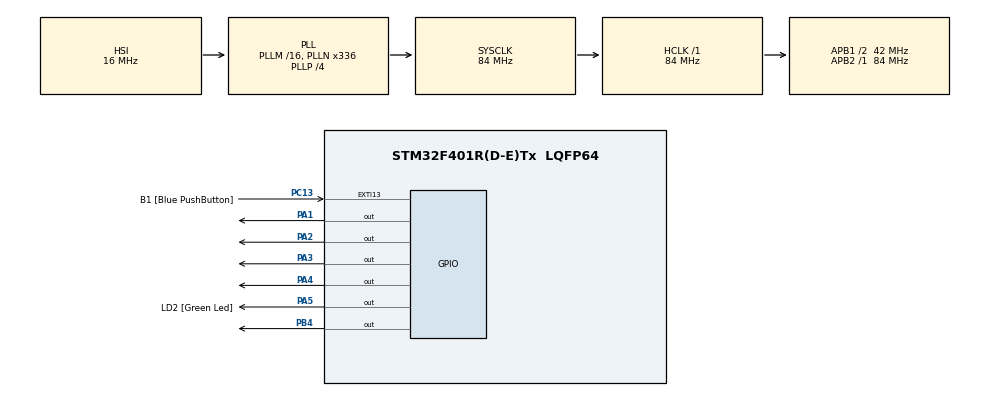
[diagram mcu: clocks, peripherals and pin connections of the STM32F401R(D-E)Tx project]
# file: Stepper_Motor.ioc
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Mcu.Family=STM32F4
Mcu.Name=STM32F401R(D-E)Tx
Mcu.Package=LQFP64
NVIC.PriorityGroup=NVIC_PRIORITYGROUP_4
PA1.Signal=GPIO_Output
PA13.GPIO_Label=TMS
PA13.Mode=Trace_Asynchronous_SW
PA13.Signal=SYS_JTMS-SWDIO
PA14.GPIO_Label=TCK
PA14.Mode=Trace_Asynchronous_SW
PA14.Signal=SYS_JTCK-SWCLK
PA2.Signal=GPIO_Output
PA3.Signal=GPIO_Output
PA4.Signal=GPIO_Output
PA5.GPIO_Label=LD2 [Green Led]
PA5.GPIO_Mode=GPIO_MODE_OUTPUT_PP
PA5.GPIO_PuPd=GPIO_NOPULL
PA5.GPIO_Speed=GPIO_SPEED_FREQ_LOW
PA5.Signal=GPIO_Output
PB3.GPIO_Label=SWO
PB3.Mode=Trace_Asynchronous_SW
PB3.Signal=SYS_JTDO-SWO
PB4.Signal=GPIO_Output
PC13-ANTI_TAMP.GPIO_Label=B1 [Blue PushButton]
PC13-ANTI_TAMP.GPIO_ModeDefaultEXTI=GPIO_MODE_IT_FALLING
PC13-ANTI_TAMP.GPIO_PuPd=GPIO_NOPULL
PC13-ANTI_TAMP.Signal=GPXTI13
PC14-OSC32_IN.Mode=LSE-External-Oscillator
PC14-OSC32_IN.Signal=RCC_OSC32_IN
PC15-OSC32_OUT.Mode=LSE-External-Oscillator
PC15-OSC32_OUT.Signal=RCC_OSC32_OUT
PH0\ -\ OSC_IN.Mode=HSE-External-Clock-Source
PH0\ -\ OSC_IN.Signal=RCC_OSC_IN
PH1\ -\ OSC_OUT.Mode=HSE-External-Clock-Source
PH1\ -\ OSC_OUT.Signal=RCC_OSC_OUT
ProjectManager.HeapSize=0x200
ProjectManager.StackSize=0x400
ProjectManager.TargetToolchain=STM32CubeIDE
RCC.48MHZClocksFreq_Value=48000000
RCC.AHBFreq_Value=84000000
RCC.APB1CLKDivider=RCC_HCLK_DIV2
RCC.APB1Freq_Value=42000000
RCC.APB1TimFreq_Value=84000000
RCC.APB2Freq_Value=84000000
RCC.APB2TimFreq_Value=84000000
RCC.CortexFreq_Value=84000000
RCC.HCLKFreq_Value=84000000
RCC.HSE_VALUE=8000000
RCC.HSI_VALUE=16000000
RCC.PLLN=336
RCC.PLLP=RCC_PLLP_DIV4
RCC.PLLQ=7
RCC.SYSCLKFreq_VALUE=84000000
RCC.SYSCLKSource=RCC_SYSCLKSOURCE_PLLCLK
RCC.VCOOutputFreq_Value=336000000
TIM1.Period=0xffff-1
TIM1.Prescaler=84-1
VP_TIM1_VS_ClockSourceINT.Mode=Internal
board=NUCLEO-F401RE

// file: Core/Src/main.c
/* USER CODE BEGIN Header */
/**
  ******************************************************************************
  * @file           : main.c
  * @brief          : Main program body
  ******************************************************************************
  * @attention
  *
  * Copyright (c) 2025 STMicroelectronics.
  * All rights reserved.
  *
  * This software is licensed under terms that can be found in the LICENSE file
  * in the root directory of this software component.
  * If no LICENSE file comes with this software, it is provided AS-IS.
  *
  ******************************************************************************
  */
/* USER CODE END Header */
#include "main.h"

TIM_HandleTypeDef htim1;

void SystemClock_Config(void);
static void MX_GPIO_Init(void);
static void MX_TIM1_Init(void);

/* USER CODE BEGIN 0 */
int stepDelay = 1000; // 1000us more delay means less speed

void microDelay (uint16_t delay)
{
  __HAL_TIM_SET_COUNTER(&htim1, 0);
  while (__HAL_TIM_GET_COUNTER(&htim1) < delay);
}
/* USER CODE END 0 */

int main(void)
{

  /* MCU Configuration--------------------------------------------------------*/

  /* Reset of all peripherals, Initializes the Flash interface and the Systick. */
  HAL_Init();

  /* Configure the system clock */
  SystemClock_Config();

  /* Initialize all configured peripherals */
  MX_GPIO_Init();
  MX_TIM1_Init();
  /* USER CODE BEGIN 2 */
  HAL_TIM_Base_Start(&htim1);
  /* USER CODE END 2 */

  /* Infinite loop */
  while (1)
  {

    /* USER CODE BEGIN 3 */
	  int x;
	  HAL_GPIO_WritePin(GPIOA, GPIO_PIN_1, 1);
	  for(x=0; x<200; x=x+1)
	  {
		HAL_GPIO_WritePin(GPIOB, GPIO_PIN_4, 1);
		microDelay(stepDelay);
		HAL_GPIO_WritePin(GPIOB, GPIO_PIN_4, 0);
		microDelay(stepDelay);
	  }
	  HAL_Delay(1000);
	  HAL_GPIO_WritePin(GPIOA, GPIO_PIN_1, 0);
	  for(x=0; x<200; x=x+1)
	  {
		HAL_GPIO_WritePin(GPIOB, GPIO_PIN_4, 1);
		microDelay(stepDelay);
		HAL_GPIO_WritePin(GPIOB, GPIO_PIN_4, 0);
		microDelay(stepDelay);
	  }
	  HAL_Delay(1000);
  }
  /* USER CODE END 3 */
}

void SystemClock_Config(void)
{
  RCC_OscInitTypeDef RCC_OscInitStruct = {0};
  RCC_ClkInitTypeDef RCC_ClkInitStruct = {0};

  /** Configure the main internal regulator output voltage
  */
  __HAL_RCC_PWR_CLK_ENABLE();
  __HAL_PWR_VOLTAGESCALING_CONFIG(PWR_REGULATOR_VOLTAGE_SCALE2);

  /** Initializes the RCC Oscillators according to the specified parameters
  * in the RCC_OscInitTypeDef structure.
  */
  RCC_OscInitStruct.OscillatorType = RCC_OSCILLATORTYPE_HSI;
  RCC_OscInitStruct.HSIState = RCC_HSI_ON;
  RCC_OscInitStruct.HSICalibrationValue = RCC_HSICALIBRATION_DEFAULT;
  RCC_OscInitStruct.PLL.PLLState = RCC_PLL_ON;
  RCC_OscInitStruct.PLL.PLLSource = RCC_PLLSOURCE_HSI;
  RCC_OscInitStruct.PLL.PLLM = 16;
  RCC_OscInitStruct.PLL.PLLN = 336;
  RCC_OscInitStruct.PLL.PLLP = RCC_PLLP_DIV4;
  RCC_OscInitStruct.PLL.PLLQ = 7;
  if (HAL_RCC_OscConfig(&RCC_OscInitStruct) != HAL_OK)
  {
    Error_Handler();
  }

  /** Initializes the CPU, AHB and APB buses clocks
  */
  RCC_ClkInitStruct.ClockType = RCC_CLOCKTYPE_HCLK|RCC_CLOCKTYPE_SYSCLK
                              |RCC_CLOCKTYPE_PCLK1|RCC_CLOCKTYPE_PCLK2;
  RCC_ClkInitStruct.SYSCLKSource = RCC_SYSCLKSOURCE_PLLCLK;
  RCC_ClkInitStruct.AHBCLKDivider = RCC_SYSCLK_DIV1;
  RCC_ClkInitStruct.APB1CLKDivider = RCC_HCLK_DIV2;
  RCC_ClkInitStruct.APB2CLKDivider = RCC_HCLK_DIV1;

  if (HAL_RCC_ClockConfig(&RCC_ClkInitStruct, FLASH_LATENCY_2) != HAL_OK)
  {
    Error_Handler();
  }
}

static void MX_TIM1_Init(void)
{

  TIM_ClockConfigTypeDef sClockSourceConfig = {0};
  TIM_MasterConfigTypeDef sMasterConfig = {0};

  htim1.Instance = TIM1;
  htim1.Init.Prescaler = 84-1;
  htim1.Init.CounterMode = TIM_COUNTERMODE_UP;
  htim1.Init.Period = 0xffff-1;
  htim1.Init.ClockDivision = TIM_CLOCKDIVISION_DIV1;
  htim1.Init.RepetitionCounter = 0;
  htim1.Init.AutoReloadPreload = TIM_AUTORELOAD_PRELOAD_DISABLE;
  if (HAL_TIM_Base_Init(&htim1) != HAL_OK)
  {
    Error_Handler();
  }
  sClockSourceConfig.ClockSource = TIM_CLOCKSOURCE_INTERNAL;
  if (HAL_TIM_ConfigClockSource(&htim1, &sClockSourceConfig) != HAL_OK)
  {
    Error_Handler();
  }
  sMasterConfig.MasterOutputTrigger = TIM_TRGO_RESET;
  sMasterConfig.MasterSlaveMode = TIM_MASTERSLAVEMODE_DISABLE;
  if (HAL_TIMEx_MasterConfigSynchronization(&htim1, &sMasterConfig) != HAL_OK)
  {
    Error_Handler();
  }

}

static void MX_GPIO_Init(void)
{
  GPIO_InitTypeDef GPIO_InitStruct = {0};

  /* GPIO Ports Clock Enable */
  __HAL_RCC_GPIOC_CLK_ENABLE();
  __HAL_RCC_GPIOH_CLK_ENABLE();
  __HAL_RCC_GPIOA_CLK_ENABLE();
  __HAL_RCC_GPIOB_CLK_ENABLE();

  /*Configure GPIO pin Output Level */
  HAL_GPIO_WritePin(GPIOA, GPIO_PIN_1|GPIO_PIN_2|GPIO_PIN_3|GPIO_PIN_4
                          |LD2_Pin, GPIO_PIN_RESET);

  /*Configure GPIO pin Output Level */
  HAL_GPIO_WritePin(GPIOB, GPIO_PIN_4, GPIO_PIN_RESET);

  /*Configure GPIO pin : B1_Pin */
  GPIO_InitStruct.Pin = B1_Pin;
  GPIO_InitStruct.Mode = GPIO_MODE_IT_FALLING;
  GPIO_InitStruct.Pull = GPIO_NOPULL;
  HAL_GPIO_Init(B1_GPIO_Port, &GPIO_InitStruct);

  /*Configure GPIO pins : PA1 PA2 PA3 PA4
                           LD2_Pin */
  GPIO_InitStruct.Pin = GPIO_PIN_1|GPIO_PIN_2|GPIO_PIN_3|GPIO_PIN_4
                          |LD2_Pin;
  GPIO_InitStruct.Mode = GPIO_MODE_OUTPUT_PP;
  GPIO_InitStruct.Pull = GPIO_NOPULL;
  GPIO_InitStruct.Speed = GPIO_SPEED_FREQ_LOW;
  HAL_GPIO_Init(GPIOA, &GPIO_InitStruct);

  /*Configure GPIO pin : PB4 */
  GPIO_InitStruct.Pin = GPIO_PIN_4;
  GPIO_InitStruct.Mode = GPIO_MODE_OUTPUT_PP;
  GPIO_InitStruct.Pull = GPIO_NOPULL;
  GPIO_InitStruct.Speed = GPIO_SPEED_FREQ_LOW;
  HAL_GPIO_Init(GPIOB, &GPIO_InitStruct);

}

void Error_Handler(void)
{
  __disable_irq();
  while (1)
  {
  }
}
